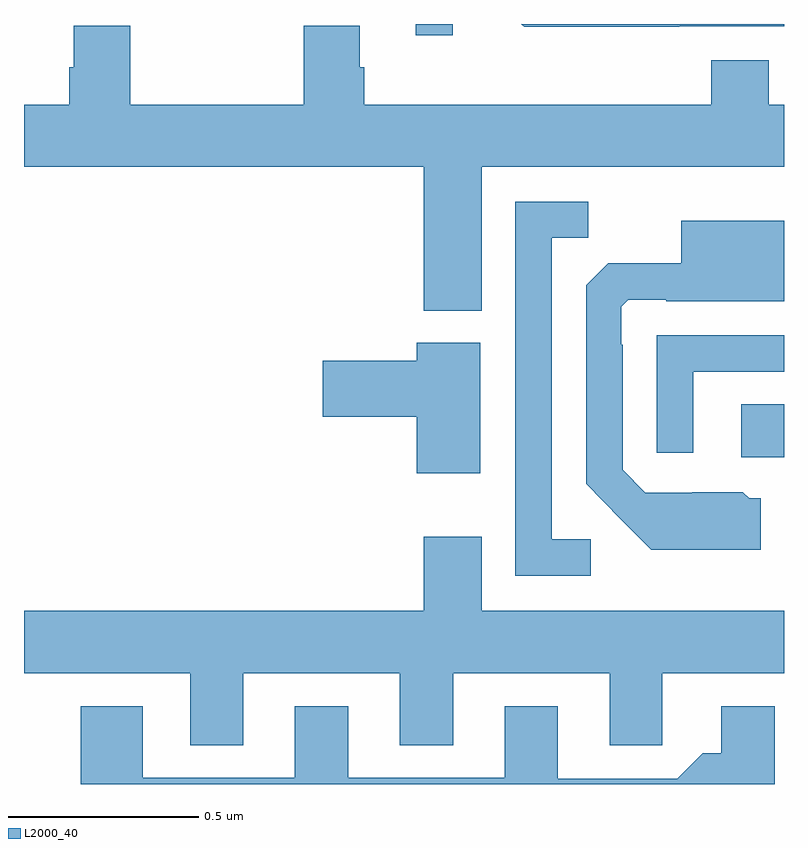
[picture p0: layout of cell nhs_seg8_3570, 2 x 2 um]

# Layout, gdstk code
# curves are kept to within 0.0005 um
import gdstk
lib = gdstk.Library(unit=1e-6, precision=1e-09)
def R(c, l, rs):  # rectangles x0, y0, x1, y1
    for r in rs: c.add(gdstk.rectangle(r[:2], r[2:], *l))
def P(c, l, *ps):  # polygons
    for p in ps: c.add(gdstk.Polygon(p, *l))
L2000_40 = (2000, 40)

nhs_seg8_3570 = lib.new_cell('nhs_seg8_3570')
R(nhs_seg8_3570, L2000_40, [(160.887,1091.76,161,1091.9), (160.031,1092.87,160.128,1092.9)])
P(nhs_seg8_3570, L2000_40, [(160.724,1092.894),(161,1092.894),(161,1092.9),(160.309,1092.9),(160.316,1092.893),(160.724,1092.893)],
  [(160.204,1092.524),(161,1092.524),(161,1092.688),(160.96,1092.688),(160.96,1092.805),(160.808,1092.805),(160.808,1092.688),(159.896,1092.688),(159.896,1092.786),(159.883,1092.786),(159.883,1092.896),(159.736,1092.896),(159.736,1092.688),(159.279,1092.688),(159.279,1092.896),(159.131,1092.896),(159.131,1092.786),(159.119,1092.786),(159.119,1092.688),(159,1092.688),(159,1092.524),(160.052,1092.524),(160.052,1092.146),(160.204,1092.146)],
  [(160.492,1091.544),(160.389,1091.544),(160.389,1092.337),(160.485,1092.337),(160.485,1092.432),(160.293,1092.432),(160.293,1091.448),(160.492,1091.448)],
  [(160.939,1091.652),(160.908,1091.652),(160.892,1091.668),(160.758,1091.668),(160.758,1091.667),(160.635,1091.667),(160.575,1091.727),(160.575,1092.056),(160.572,1092.056),(160.572,1092.156),(160.59,1092.174),(160.69,1092.174),(160.69,1092.17),(161,1092.17),(161,1092.382),(160.73,1092.382),(160.73,1092.271),(160.538,1092.271),(160.479,1092.212),(160.479,1091.69),(160.651,1091.516),(160.939,1091.516)],
  [(160.761,1091.985),(161,1091.985),(161,1092.081),(160.665,1092.081),(160.665,1091.772),(160.761,1091.772)],
  [(160.201,1092.061),(160.034,1092.061),(160.034,1092.014),(159.786,1092.014),(159.786,1091.867),(160.034,1091.867),(160.034,1091.718),(160.201,1091.718)],
  [(159.577,1091.192),(159.989,1091.192),(159.989,1091.002),(160.129,1091.002),(160.129,1091.192),(160.541,1091.192),(160.541,1091.002),(160.68,1091.002),(160.68,1091.192),(161,1091.192),(161,1091.356),(160.204,1091.356),(160.204,1091.551),(160.052,1091.551),(160.052,1091.356),(159,1091.356),(159,1091.192),(159.437,1091.192),(159.437,1091.002),(159.577,1091.002)],
  [(160.975,1091.104),(160.835,1091.104),(160.835,1090.981),(160.786,1090.981),(160.719,1090.914),(160.405,1090.914),(160.405,1091.104),(160.265,1091.104),(160.265,1090.917),(159.853,1090.917),(159.853,1091.104),(159.713,1091.104),(159.713,1090.917),(159.313,1090.917),(159.313,1091.104),(159.149,1091.104),(159.149,1090.9),(160.975,1090.9)])

lib.write_gds('nhs_seg8_3570.gds')
